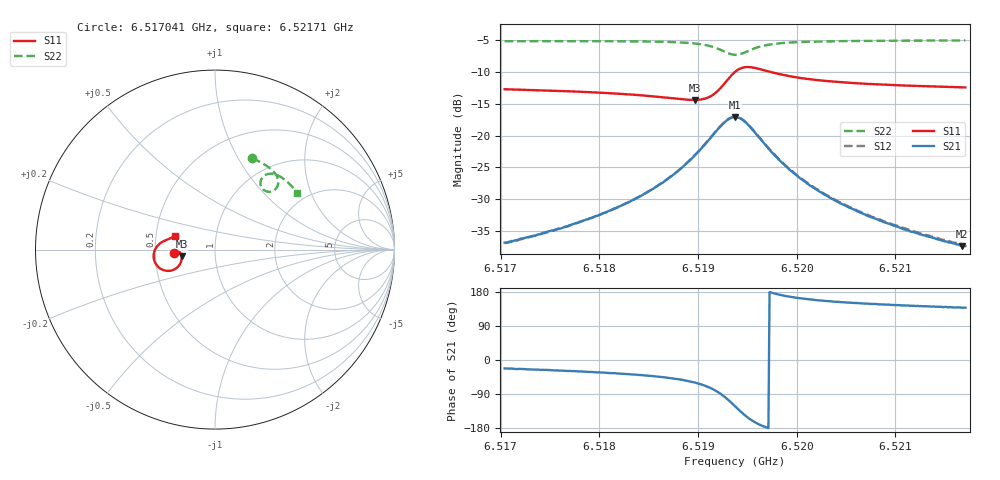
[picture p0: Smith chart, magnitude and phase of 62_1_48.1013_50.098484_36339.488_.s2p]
#  HZ  S  RI  R  50.00
! Rohde & Schwarz Vector Network Analyzer
! Rohde-Schwarz,ZNB20-2Port,1311601062101988,3.16
! Created: UTC 12/23/2023, 3:40:51 AM
! freq[Hz]  re:S11  im:S11  re:S21  im:S21  re:S12  im:S12  re:S22  im:S22
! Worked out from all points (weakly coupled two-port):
!   401 points, 6.517041 GHz to 6.52171 GHz, reference 50 ohm
!   highest |S21| = -17.10 dB at 6.519375 GHz (marker M1); lowest = -37.3 dB at 6.521675 GHz (marker M2)
!   lowest |S11| = -14.4 dB at 6.518967 GHz (marker M3), VSWR 1.47, Z = 34.2 - j2.61 ohm
!   |S11| at or under -10 dB: start of sweep to 6.519377 GHz; 6.519727 GHz to end of sweep
!   |S22| runs from -7.3 to -5.1 dB; largest |S21 - S12| = 0.0042
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6.5170409e9  -0.2302 -0.0165  0.0134 -0.00549  0.0134 -0.00493  0.2067 0.508
6.5173444e9  -0.2269 -0.012  0.0149 -0.00695  0.0151 -0.00648  0.2291 0.4989
6.517823e9  -0.22 -0.00638  0.0185 -0.0108  0.0187 -0.0103  0.2645 0.4809
6.5182315e9  -0.2119 -0.00457  0.023 -0.0168  0.0236 -0.016  0.2953 0.4616
6.518605e9  -0.2006 -0.00946  0.0294 -0.0286  0.0305 -0.0278  0.3242 0.4369
6.5187917e9  -0.1932 -0.0184  0.0334 -0.0401  0.0348 -0.0393  0.3387 0.4188
6.5189668e9  -0.1866 -0.0368  0.0355 -0.06  0.0375 -0.0592  0.3502 0.3939
6.5190719e9  -0.1866 -0.0564  0.032 -0.0791  0.0347 -0.0786  0.3521 0.3725
6.5191536e9  -0.1937 -0.0783  0.0222 -0.0989  0.0254 -0.0989  0.3473 0.352
6.519282e9  -0.237 -0.1147  -0.0218 -0.1276  -0.0183 -0.1293  0.3133 0.3235
6.5193754e9  -0.2953 -0.1109  -0.0739 -0.1184  -0.0712 -0.1213  0.2731 0.3311
6.519422e9  -0.3206 -0.0922  -0.0944 -0.0992  -0.0923 -0.1025  0.2588 0.3475
6.5194804e9  -0.3385 -0.0604  -0.1068 -0.0696  -0.1056 -0.0732  0.2531 0.372
6.5195854e9  -0.3377 -0.00969  -0.1006 -0.0261  -0.1007 -0.0292  0.2676 0.4056
6.5196788e9  -0.323 0.0176  -0.085 -0.00506  -0.0856 -0.0075  0.2882 0.419
6.5199006e9  -0.2913 0.0444  -0.0553 0.0115  -0.0563 0.0101  0.328 0.4214
6.5201574e9  -0.2695 0.0545  -0.0371 0.0142  -0.0379 0.0132  0.3585 0.4096
6.5205192e9  -0.2523 0.0616  -0.0242 0.0132  -0.0251 0.0127  0.3889 0.3894
6.5209394e9  -0.24 0.0676  -0.0169 0.0114  -0.0174 0.0112  0.4163 0.3644
6.5212779e9  -0.2327 0.0723  -0.0131 0.0101  -0.0136 0.01  0.4353 0.344
6.5216748e9  -0.2257 0.0778  -0.0101 0.00911  -0.0107 0.00915  0.4553 0.3195
6.5217098e9  -0.2251 0.0783  -0.0101 0.0091  -0.0104 0.00902  0.4568 0.3172
